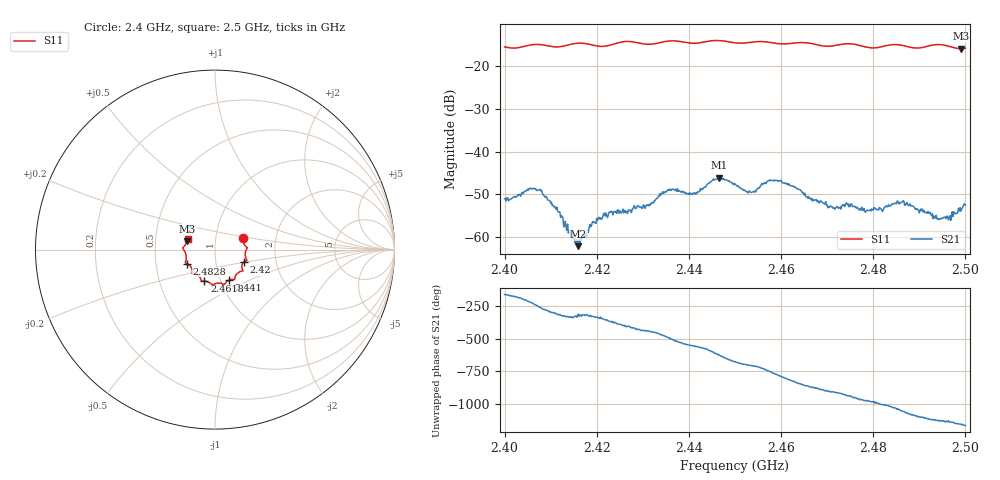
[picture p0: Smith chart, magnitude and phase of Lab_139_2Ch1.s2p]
# Hz S RI R 50
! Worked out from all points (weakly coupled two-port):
!   601 points, 2.4 GHz to 2.5 GHz, reference 50 ohm
!   highest |S21| = -46.15 dB at 2.4465 GHz (marker M1); lowest = -62.2 dB at 2.416 GHz (marker M2)
!   lowest |S11| = -15.8 dB at 2.499 GHz (marker M3), VSWR 1.38, Z = 36.5 + j3.47 ohm
!   |S11| at or under -10 dB: start of sweep to end of sweep
!   S12 and S22 are empty: the file has one direction only
!   S11 on the Smith chart (normalised r, x): 2.4 GHz: 1.36, +0.18; 2.42 GHz: 1.36, -0.20; 2.441 GHz: 1.10, -0.39; 2.4618 GHz: 0.84, -0.31; 2.4828 GHz: 0.72, -0.12; 2.5 GHz: 0.73, +0.09
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2.4e9  0.1573 0.0631  -0.00261 -0.00103  0 0  0 0
2.407667e9  0.1804 0.00864  -0.000839 0.0035  0 0  0 0
2.416e9  0.1779 -0.059  0.000488 0.000604  0 0  0 0
2.416667e9  0.1777 -0.06  0.00075 0.000519  0 0  0 0
2.42e9  0.1592 -0.0697  0.00147 0.000756  0 0  0 0
2.431e9  0.1268 -0.1304  0.000454 -0.00233  0 0  0 0
2.433333e9  0.1121 -0.1511  -0.000383 -0.00292  0 0  0 0
2.436e9  0.11 -0.1664  -0.00251 -0.00248  0 0  0 0
2.441e9  0.0786 -0.1695  -0.00321 0.000704  0 0  0 0
2.4465e9  0.0499 -0.1951  -0.000681 0.00488  0 0  0 0
2.45e9  0.0284 -0.1871  0.00293 0.00297  0 0  0 0
2.453167e9  -0.00184 -0.1912  0.00327 0.00108  0 0  0 0
2.4575e9  -0.0216 -0.1906  0.00402 -0.00233  0 0  0 0
2.461833e9  -0.0592 -0.1758  -0.000357 -0.00401  0 0  0 0
2.466667e9  -0.0778 -0.1682  -0.00249 -0.00131  0 0  0 0
2.4715e9  -0.1093 -0.1372  -0.00218 0.000309  0 0  0 0
2.482833e9  -0.1574 -0.0775  0.000759 0.00212  0 0  0 0
2.483333e9  -0.1605 -0.0764  0.000936 0.00219  0 0  0 0
2.486833e9  -0.1626 -0.0618  0.00221 0.000742  0 0  0 0
2.494333e9  -0.1804 0.00916  0.00114 -0.00119  0 0  0 0
2.499e9  -0.1546 0.0463  0.000512 -0.00193  0 0  0 0
2.5e9  -0.1516 0.0609  0.000201 -0.00234  0 0  0 0
